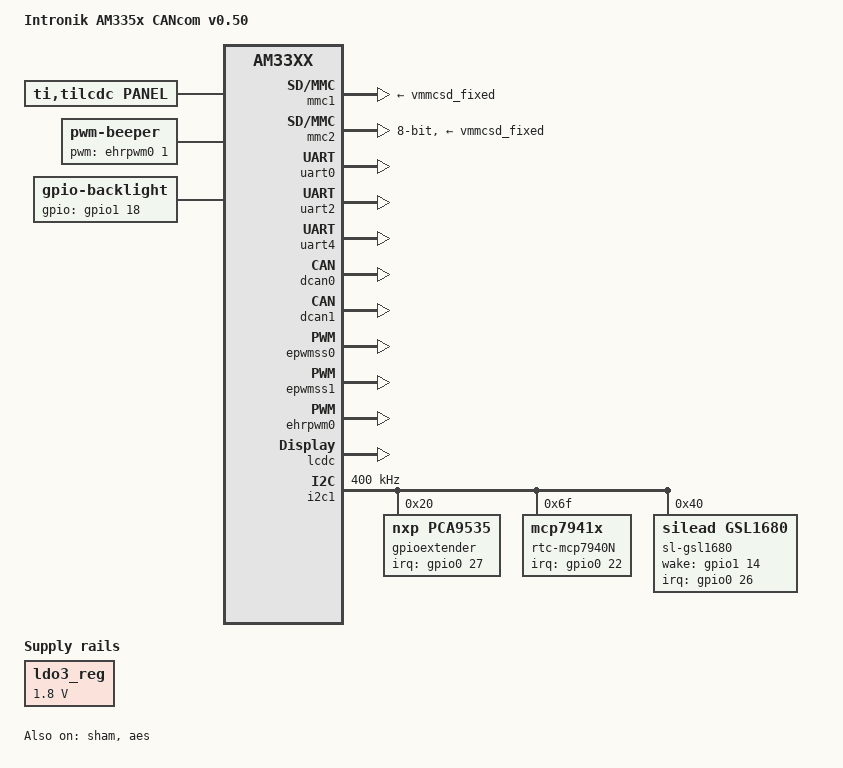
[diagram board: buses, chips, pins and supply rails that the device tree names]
/*
 * Copyright (C) 2015 Intronik GmbH
 *
 * Hardware specification for Intronik CANcom module.
 * V0.5 - 2015-08-23
 */
/dts-v1/;

#include "am33xx.dtsi"
#include "am335x-bone-common-no-capemgr.dtsi"
#include "am335x-intronik-pinmux.dtsi"
#include <dt-bindings/interrupt-controller/irq.h>
#include <dt-bindings/input/input.h>

/ {
	model = "Intronik AM335x CANcom v0.50";
	compatible = "ti,am335x-bone-black", "ti,am335x-bone", "ti,am33xx";
};

&ldo3_reg {
	regulator-min-microvolt = <1800000>;
	regulator-max-microvolt = <1800000>;
	regulator-always-on;
};

&sham {
	status = "okay";
};

&aes {
	status = "okay";
};

&mmc1 {	// sd-card
	vmmc-supply = <&vmmcsd_fixed>;
};

&mmc2 {	// emmc
	status = "okay";
	vmmc-supply = <&vmmcsd_fixed>;
	pinctrl-names = "default";
	pinctrl-0 = <&emmc_pins>;
	bus-width = <8>;
};

&uart0 { // X5.3 (J1.4), X5.1 (J1.5)
	pinctrl-names = "default";
	pinctrl-0 = <&uart0_pins>;
	status = "okay";
};

&uart2 { // X4.3 (P9.21), X4.1 (P9.22)
	status = "okay";
	pinctrl-names = "default", "sleep";
	pinctrl-0 = <&P9_22_uart_pin &P9_21_uart_pin>;
	pinctrl-1 = <&P9_22_default_pin &P9_21_default_pin>;
}; 

&uart4 { // X1.15 (P9.11), X1.16 (P9.13)
	status = "okay";
	pinctrl-names = "default", "sleep";
	pinctrl-0 = <&P9_11_uart_pin &P9_13_uart_pin>;
	pinctrl-1 = <&P9_11_default_pin &P9_13_default_pin>;
};

&dcan0 { // X2
	 status = "okay";
	 pinctrl-names = "default", "sleep";
	 pinctrl-0 = <&P9_19_can_pin &P9_20_can_pin>;
	 pinctrl-1 = <&P9_19_default_pin &P9_20_default_pin>;
};

&dcan1 { // X3
	 status = "okay";
	 pinctrl-names = "default", "sleep";
	 pinctrl-0 = <&P9_24_can_pin &P9_26_can_pin>;
	 pinctrl-1 = <&P9_24_default_pin &P9_26_default_pin>;
};

&epwmss0 {
	status = "okay";
};

&epwmss1 {
	status = "okay";
};

&ehrpwm0 { // pwm module used beeper (EHRPWM0B)
	status = "okay";
	pinctrl-names = "default", "sleep";
	pinctrl-0 = <&P9_29_pwm_pin>;
	pinctrl-1 = <&P9_29_gpio_pd_pin>;
};
/*
&ehrpwm1 { // pwm module used backlight (EHRPWM1A)
	status = "okay";
	pinctrl-names = "default", "sleep";
	pinctrl-0 = <&P9_14_pwm_pin>;
	pinctrl-1 = <&P9_14_gpio_pd_pin>;
};
*/
&pruss {
	status = "disabled";
};

&lcdc {
	status = "okay";
};

&rtc {  // we use an external i2c rtc, so this should be disabled
	status = "disable";
};

&i2c1 {
	//status = "disabled";
	status = "okay";
	pinctrl-names = "default", "sleep";
	pinctrl-0 = <&P9_17_i2c_pin &P9_18_i2c_pin>;
	pinctrl-1 = <&P9_17_default_pin &P9_18_default_pin>;
	clock-frequency = <400000>;
		
	gpioextender: gpioextender@20 {
		reg = <0x20>;
		compatible = "nxp,pca9535";
		pinctrl-names = "default";
		pinctrl-0 = <&P8_17_gpio_pu_pin>;
		gpio-controller;
		#gpio-cells = <2>;
		interrupt-parent = <&gpio0>;
		interrupts = <27 IRQ_TYPE_EDGE_FALLING>;
		interrupt-controller;
		#interrupt-cells = <2>;
	};

        rtc-mcp7940N@6F {
		reg = <0x6f>;
		compatible = "mcp7941x";
		pinctrl-names = "default";
		pinctrl-0 = <&P8_19_gpio_pu_pin>;
		interrupt-parent = <&gpio0>;
		interrupts = <22 IRQ_TYPE_EDGE_FALLING>;
	};

	sl-gsl1680@40 {
		reg = <0x40>;
		compatible = "silead,gsl1680";
		pinctrl-names = "default";
		pinctrl-0 = <&P8_14_gpio_pd_pin &P8_16_gpio_pu_pin>;
		interrupt-parent = <&gpio0>;
		interrupts = <26 IRQ_TYPE_EDGE_RISING>;
		wake-gpio = <&gpio1 14 0>;
	};
};

&i2c2 { // required to enable CAN0
	status = "disable";
};

/ {
	cpus {
		cpu@0 {
			cpu0-supply = <&dcdc2_reg>;
			/*
			 * To consider voltage drop between PMIC and SoC,
			 * tolerance value is reduced to 2% from 4% and
			 * voltage value is increased as a precaution.
			 */
			operating-points = <
				/* kHz    uV */
				1000000	1325000
				800000	1300000
				600000	1112000
				300000	969000
			>;
		};
	};

	panel:display0 {
		status = "okay";
		compatible = "ti,tilcdc,panel";
		pinctrl-names = "default", "sleep";
		/*backlight = <&backlight>;*/
		pinctrl-0 = <&bbcape_lcd_pins &P8_07_gpio_pu_pin>;
		pinctrl-1 = <&bbcape_lcd_pins &P8_07_gpio_pd_pin>;
		panel-info {
			ac-bias           = <255>;
			ac-bias-intrpt    = <0>;
			dma-burst-sz      = <16>;
			bpp               = <16>;
			fdd               = <0x80>;
			sync-edge         = <1>;
			sync-ctrl         = <1>;
			raster-order      = <0>;
			fifo-th           = <8>;
		};
		display-timings {
			native-mode = <&NHD50timing>;
			/* Settings for NEWHAVEN NHD5.0-800480TF-ATXI#-CTP */
			NHD50timing: 800x480 {
				clock-frequency = <30000000>;
				hactive = <800>;
				vactive = <480>;
				hfront-porch = <40>;
				hback-porch = <40>;
				hsync-len = <48>;
				vback-porch = <30>;
				vfront-porch = <13>;
				vsync-len = <3>;
				hsync-active = <0>;
				vsync-active = <0>;
				de-active = <1>;
				pixelclk-active = <0>;
			};
		};
	};

	beeper: beeper {
		status = "okay";
		compatible = "pwm-beeper";
		pwms = <&ehrpwm0 1 250000 0>; // EHRPWM0B 4kHz
	};
/*
	backlight: backlight {
		compatible = "pwm-backlight";
		pwms = <&ehrpwm1 0 20000 0>; // EHRPWM1A 20000ns=50KHz
		brightness-levels = <0 55 80 105 130 155 180 205 230 255>;
		default-brightness-level = <9>;
		enable-gpios = <&gpio2 2 0>;
		//power-supply = <&vmmcsd_fixed>;
	};
*/
	backlight: backlight {
		status = "okay";
		compatible = "gpio-backlight";
		pinctrl-names = "default", "sleep";
		pinctrl-0 = <&P9_14_gpio_pu_pin>;
		pinctrl-1 = <&P9_14_gpio_pd_pin>;
		gpios = <&gpio1 18 GPIO_ACTIVE_HIGH>;
		default-on;
	};

	CanComIo {
		compatible = "gpio-of-helper";
		status = "okay";

		CanComOut01 {
			gpio-name = "Out01";
			gpio = <&gpioextender 0 0>;
			output;
			init-low;
		};
		CanComOut02 {
			gpio-name = "Out02";
			gpio = <&gpioextender 1 0>;
			output;
			init-low;
		};
		CanComOut03 {
			gpio-name = "Out03";
			gpio = <&gpioextender 2 0>;
			output;
			init-low;
		};
		CanComOut04 {
			gpio-name = "Out04";
			gpio = <&gpioextender 3 0>;
			output;
			init-low;
		};

		CanComInp01 {
			gpio-name = "Inp01";
			gpio = <&gpioextender 4 0>;
			input;
		};
		CanComInp02{
			gpio-name = "Inp02";
			gpio = <&gpioextender 5 0>;
			input;
                };
		CanComInp03 { 
			gpio-name = "Inp03";
			gpio = <&gpioextender 6 0>;
			input;
                };
		CanComInp04 {
			gpio-name = "Inp04";
			gpio = <&gpioextender 7 0>;
			input;
                };
		CanComInp05 {
			gpio-name = "Inp05";
			gpio = <&gpioextender 8 0>;
			input;
                };
		CanComInp06 {
			gpio-name = "Inp06";
			gpio = <&gpioextender 9 0>;
			input;
                };
		CanComInp07 {
			gpio-name = "Inp07";
			gpio = <&gpioextender 10 0>;
			input;
                };
		CanComInp08 {
			gpio-name = "Inp08";
			gpio = <&gpioextender 11 0>;
			input;
                };
		CanComInp09 {
			gpio-name = "Inp09";
			gpio = <&gpioextender 12 0>;
			input;
                };
		CanComInp10 {
			gpio-name = "Inp10";
			gpio = <&gpioextender 13 0>;
			input;
		};
/*
		P9_14_Out {
			gpio-name = "BLSW";
			gpio = <&gpio1 18 0>;
			output;
			init-high;
		};
*/

	};
};
